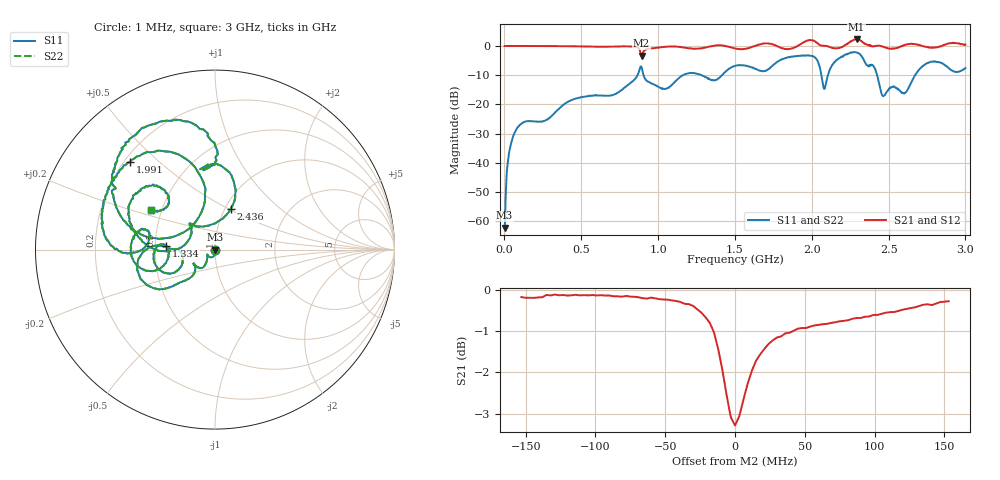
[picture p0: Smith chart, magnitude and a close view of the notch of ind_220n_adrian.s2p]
! Touchstone file generated by RF Tool Suite
# Hz S RI R 50
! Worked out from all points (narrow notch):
!   1000 points, 1 MHz to 3 GHz, reference 50 ohm
!   highest |S21| = 2.36 dB at 2.292 GHz (marker M1); lowest = -3.3 dB at 892.6 MHz (marker M2)
!   notch at M2: 3.2 dB deep, 25.8 MHz wide at half that depth
!   lowest |S11| = -62.1 dB at 1 MHz (marker M3), VSWR 1.00, Z = 50.1 - j0.0435 ohm
!   |S11| at or under -10 dB: start of sweep to 866.3 MHz; 905.2 MHz to 1.162 GHz (256.3 MHz wide, 24.8 % of centre); 2.425 GHz to 2.673 GHz (247.3 MHz wide, 9.7 % of centre)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
!   |S22| runs from -62.1 to -2.0 dB; largest |S21 - S12| = 0
!   S11 on the Smith chart (normalised r, x): 1 MHz: 1.00, -0.00; 1.334 GHz: 0.57, +0.02; 1.991 GHz: 0.22, +0.41; 2.436 GHz: 1.06, +0.51; 3 GHz: 0.44, +0.23
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1000000  0.000649 -0.000435  0.9994 -2.42e-05  0.9994 -2.42e-05  0.000649 -0.000435
3.102002e7  0.00196 -0.0153  1 -0.0274  1 -0.0274  0.00196 -0.0153
8.205405e7  -0.00942 -0.0383  0.9979 -0.0716  0.9979 -0.0716  -0.00942 -0.0383
5.023343e8  -0.0857 -0.1022  0.8888 -0.4171  0.8888 -0.4171  -0.0857 -0.1022
7.154765e8  -0.1097 -0.0999  0.8004 -0.5589  0.8004 -0.5589  -0.1097 -0.0999
8.925946e8  -0.429 -0.0565  0.4832 -0.4855  0.4832 -0.4855  -0.429 -0.0565
1.003669e9  -0.1987 -0.00597  0.6879 -0.6406  0.6879 -0.6406  -0.1987 -0.00597
1.333889e9  -0.2716 0.0182  0.5368 -0.8153  0.5368 -0.8153  -0.2716 0.0182
1.502001e9  -0.4541 -0.0637  0.2961 -0.8573  0.2961 -0.8573  -0.4541 -0.0637
1.718145e9  -0.402 0.00563  0.2025 -1.087  0.2025 -1.087  -0.402 0.00563
1.862241e9  -0.6291 0.1632  0.1541 -0.8824  0.1541 -0.8824  -0.6291 0.1632
1.991327e9  -0.4734 0.4901  -0.0392 -1.26  -0.0392 -1.26  -0.4734 0.4901
2.003335e9  -0.417 0.5236  -0.1334 -1.248  -0.1334 -1.248  -0.417 0.5236
2.060373e9  -0.0535 0.3402  -0.2326 -0.9932  -0.2326 -0.9932  -0.0535 0.3402
2.108405e9  -0.332 0.0637  -0.2415 -0.95  -0.2415 -0.95  -0.332 0.0637
2.231487e9  -0.5529 0.4818  -0.0931 -1.094  -0.0931 -1.094  -0.5529 0.4818
2.291528e9  -0.3087 0.7127  -0.4394 -1.236  -0.4394 -1.236  -0.3087 0.7127
2.435624e9  0.0878 0.2273  -0.5073 -0.8789  -0.5073 -0.8789  0.0878 0.2273
2.501668e9  -0.1273 0.1336  -0.4842 -0.761  -0.4842 -0.761  -0.1273 0.1336
2.606738e9  -0.1491 0.0496  -0.5224 -0.8992  -0.5224 -0.8992  -0.1491 0.0496
2.77485e9  -0.4821 0.2401  -0.6388 -0.6898  -0.6388 -0.6898  -0.4821 0.2401
3e9  -0.3564 0.2207  -0.8984 -0.5443  -0.8984 -0.5443  -0.3564 0.2207
